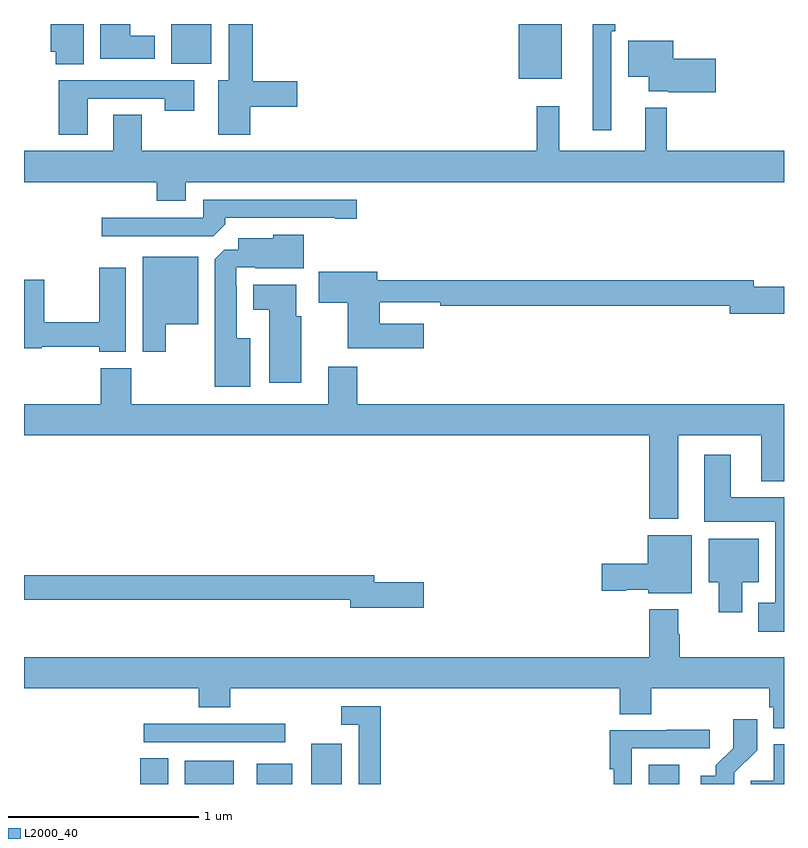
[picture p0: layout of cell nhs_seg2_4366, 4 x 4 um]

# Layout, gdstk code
import gdstk
lib = gdstk.Library(unit=1e-6, precision=1e-09)
def R(c, l, rs):  # rectangles x0, y0, x1, y1
    for r in rs: c.add(gdstk.rectangle(r[:2], r[2:], *l))
def P(c, l, *ps):  # polygons
    for p in ps: c.add(gdstk.Polygon(p, *l))
L2000_40 = (2000, 40)

nhs_seg2_4366 = lib.new_cell('nhs_seg2_4366')
R(nhs_seg2_4366, L2000_40, [(347.612,645.8,347.758,645.935), (347.846,645.8,348.103,645.922), (348.224,645.8,348.412,645.907), (348.512,645.8,348.673,646.012), (350.288,645.8,350.449,645.901), (347.631,646.02,348.376,646.116), (349.604,649.511,349.831,649.8), (347.774,649.592,347.986,649.8)])
P(nhs_seg2_4366, L2000_40, [(347.689,649.738),(347.56,649.738),(347.56,649.8),(347.402,649.8),(347.402,649.616),(347.689,649.616)],
  [(348.19,649.364),(348.439,649.364),(348.439,649.499),(348.203,649.499),(348.203,649.8),(348.077,649.8),(348.077,649.504),(348.023,649.504),(348.023,649.218),(348.19,649.218)],
  [(350.091,649.763),(350.111,649.763),(350.111,649.8),(349.994,649.8),(349.994,649.242),(350.091,649.242)],
  [(347.314,649.8),(347.141,649.8),(347.141,649.655),(347.168,649.655),(347.168,649.588),(347.314,649.588)],
  [(350.641,649.616),(350.416,649.616),(350.416,649.711),(350.18,649.711),(350.18,649.523),(350.288,649.523),(350.288,649.445),(350.392,649.445),(350.392,649.44),(350.641,649.44)],
  [(347.335,649.407),(347.74,649.407),(347.74,649.344),(347.896,649.344),(347.896,649.503),(347.183,649.503),(347.183,649.218),(347.335,649.218)],
  [(347.851,648.968),(351,648.968),(351,649.132),(350.382,649.132),(350.382,649.36),(350.27,649.36),(350.27,649.132),(349.817,649.132),(349.817,649.366),(349.699,649.366),(349.699,649.132),(347.619,649.132),(347.619,649.322),(347.471,649.322),(347.471,649.132),(347,649.132),(347,648.968),(347.699,648.968),(347.699,648.869),(347.851,648.869)],
  [(348.059,648.746),(348.059,648.78),(348.638,648.78),(348.638,648.775),(348.751,648.775),(348.751,648.876),(347.943,648.876),(347.943,648.78),(347.409,648.78),(347.409,648.684),(347.997,648.684)],
  [(348.19,648.145),(348.121,648.145),(348.121,648.419),(348.117,648.419),(348.117,648.519),(348.217,648.519),(348.217,648.515),(348.472,648.515),(348.472,648.691),(348.312,648.691),(348.312,648.673),(348.128,648.673),(348.128,648.612),(348.054,648.612),(348.005,648.563),(348.005,647.891),(348.19,647.891)],
  [(347.746,648.221),(347.917,648.221),(347.917,648.574),(347.624,648.574),(347.624,648.075),(347.746,648.075)],
  [(347.536,648.517),(347.395,648.517),(347.395,648.23),(347.106,648.23),(347.106,648.454),(347,648.454),(347,648.094),(347.094,648.094),(347.094,648.102),(347.395,648.102),(347.395,648.074),(347.536,648.074)],
  [(349.105,648.223),(348.872,648.223),(348.872,648.336),(349.192,648.336),(349.192,648.316),(350.714,648.316),(350.714,648.274),(351,648.274),(351,648.416),(350.842,648.416),(350.842,648.452),(348.859,648.452),(348.859,648.496),(348.552,648.496),(348.552,648.334),(348.704,648.334),(348.704,648.094),(349.105,648.094)],
  [(348.46,648.261),(348.433,648.261),(348.433,648.427),(348.206,648.427),(348.206,648.296),(348.29,648.296),(348.29,647.913),(348.46,647.913)],
  [(350.443,647.636),(350.879,647.636),(350.879,647.393),(351,647.393),(351,647.8),(348.755,647.8),(348.755,647.995),(348.602,647.995),(348.602,647.8),(347.565,647.8),(347.565,647.989),(347.405,647.989),(347.405,647.8),(347,647.8),(347,647.636),(350.291,647.636),(350.291,647.195),(350.443,647.195)],
  [(351,647.308),(350.719,647.308),(350.719,647.533),(350.579,647.533),(350.579,647.18),(350.954,647.18),(350.954,646.753),(350.864,646.753),(350.864,646.601),(351,646.601)],
  [(350.515,647.11),(350.282,647.11),(350.282,646.958),(350.04,646.958),(350.04,646.816),(350.169,646.816),(350.169,646.823),(350.286,646.823),(350.286,646.805),(350.515,646.805)],
  [(350.779,646.862),(350.866,646.862),(350.866,647.092),(350.603,647.092),(350.603,646.862),(350.657,646.862),(350.657,646.704),(350.779,646.704)],
  [(349.105,646.862),(348.844,646.862),(348.844,646.898),(347,646.898),(347,646.77),(348.716,646.77),(348.716,646.727),(349.105,646.727)],
  [(351,646.468),(350.451,646.468),(350.451,646.589),(350.443,646.589),(350.443,646.72),(350.291,646.72),(350.291,646.468),(347,646.468),(347,646.304),(347.921,646.304),(347.921,646.205),(348.086,646.205),(348.086,646.304),(350.135,646.304),(350.135,646.168),(350.3,646.168),(350.3,646.304),(350.923,646.304),(350.923,646.203),(350.943,646.203),(350.943,646.094),(351,646.094)],
  [(348.878,646.209),(348.669,646.209),(348.669,646.113),(348.762,646.113),(348.762,645.8),(348.878,645.8)],
  [(350.739,645.859),(350.858,645.978),(350.858,646.141),(350.733,646.141),(350.733,645.989),(350.642,645.899),(350.642,645.844),(350.562,645.844),(350.562,645.8),(350.739,645.8)],
  [(350.199,645.987),(350.608,645.987),(350.608,646.086),(350.383,646.086),(350.383,646.083),(350.083,646.083),(350.083,645.877),(350.103,645.877),(350.103,645.8),(350.199,645.8)],
  [(351,646.009),(350.945,646.009),(350.945,645.818),(350.824,645.818),(350.824,645.8),(351,645.8)])

lib.write_gds('nhs_seg2_4366.gds')
